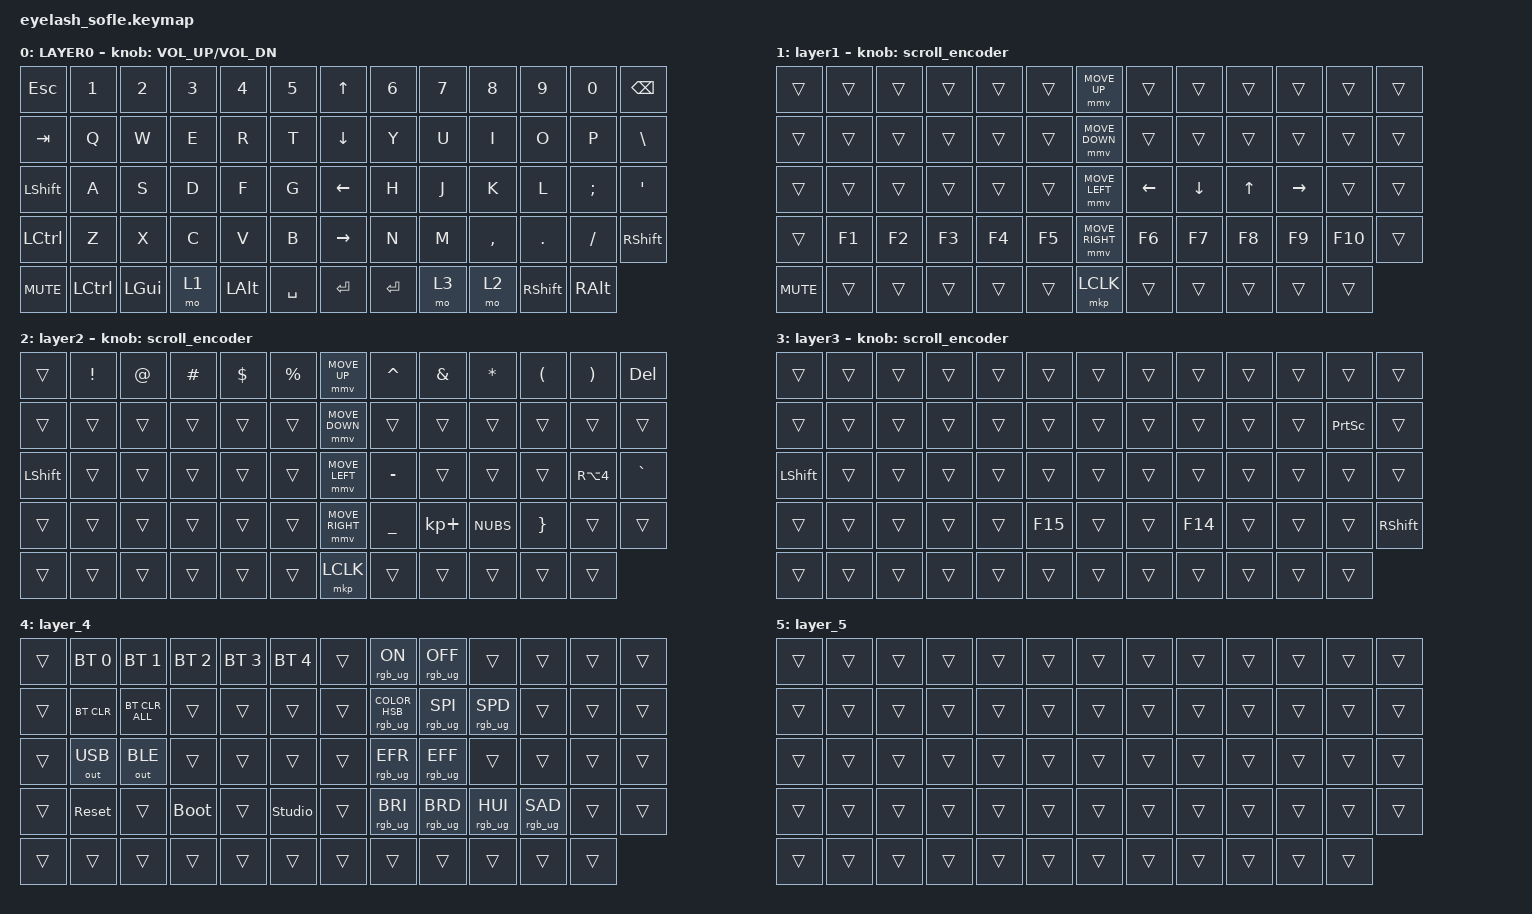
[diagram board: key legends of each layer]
#define ZMK_POINTING_DEFAULT_MOVE_VAL 1200  // 600
#define ZMK_POINTING_DEFAULT_SCRL_VAL 25   // 10

#include <input/processors.dtsi>
#include <zephyr/dt-bindings/input/input-event-codes.h>
#include <behaviors.dtsi>
#include <dt-bindings/zmk/bt.h>
#include <dt-bindings/zmk/keys.h>
#include <dt-bindings/zmk/outputs.h>
#include <dt-bindings/zmk/pointing.h>
#include <dt-bindings/zmk/rgb.h>

&mmv_input_listener { input-processors = <&zip_xy_scaler 2 1>; };

&msc_input_listener { input-processors = <&zip_scroll_scaler 2 1>; };

&msc {
    acceleration-exponent = <1>;      // 0
    time-to-max-speed-ms = <100>;       // 300
    delay-ms = <0>;                   // 0
};

&mmv {
    time-to-max-speed-ms = <500>;
    acceleration-exponent = <1>;
    trigger-period-ms = <16>;
};

&soft_off { hold-time-ms = <2000>; };

/ {
    scroll_encoder: scroll_encoder {
        compatible = "zmk,behavior-sensor-rotate";
        #sensor-binding-cells = <0>;
        bindings = <&msc SCRL_DOWN>, <&msc SCRL_UP>;

        tap-ms = <100>;
    };

    behaviors {
    };

    combos {
        compatible = "zmk,combos";

        softoff {
            bindings = <&soft_off>;
            key-positions = <14 28 40>;
        };

        sym1l {
            bindings = <&kp LS(N8)>;
            key-positions = <18 17 20>;
        };

        sym2l {
            bindings = <&kp SINGLE_QUOTE>;
            key-positions = <30 31 33>;
        };

        sym3l {
            bindings = <&kp LS(SINGLE_QUOTE)>;
            key-positions = <43 44 46>;
        };

        sym1r {
            bindings = <&kp LS(NUMBER_9)>;
            key-positions = <20 21 18>;
        };

        sym2r {
            bindings = <&kp BACKSLASH>;
            key-positions = <33 34 31>;
        };

        sym3r {
            bindings = <&kp PIPE>;
            key-positions = <46 47 44>;
        };

        contrabarra {
            bindings = <&kp RA(MINUS)>;
            key-positions = <63 11>;
        };
    };

    keymap {
        compatible = "zmk,keymap";

        layer0 {
            bindings = <
&kp ESC         &kp N1     &kp N2        &kp N3  &kp N4        &kp N5       &kp UP_ARROW     &kp N6     &kp N7  &kp N8     &kp N9           &kp N0    &kp BACKSPACE
&kp TAB         &kp Q      &kp W         &kp E   &kp R         &kp T        &kp DOWN_ARROW   &kp Y      &kp U   &kp I      &kp O            &kp P     &kp BSLH
&kp LEFT_SHIFT  &kp A      &kp S         &kp D   &kp F         &kp G        &kp LEFT_ARROW   &kp H      &kp J   &kp K      &kp L            &kp SEMI  &kp APOS
&kp LCTRL       &kp Z      &kp X         &kp C   &kp V         &kp B        &kp RIGHT_ARROW  &kp N      &kp M   &kp COMMA  &kp DOT          &kp FSLH  &kp RIGHT_SHIFT
&kp C_MUTE      &kp LCTRL  &kp LEFT_GUI  &mo 1   &kp LEFT_ALT  &kp SPACE    &kp ENTER        &kp ENTER  &mo 3   &mo 2      &kp RIGHT_SHIFT  &kp RALT
            >;

            sensor-bindings = <&inc_dec_kp C_VOLUME_UP C_VOL_DN>;
            display-name = "LAYER0";
        };

        layer_1 {
            bindings = <
&trans      &trans  &trans  &trans  &trans  &trans    &mmv MOVE_UP     &trans          &trans          &trans        &trans           &trans   &trans
&trans      &trans  &trans  &trans  &trans  &trans    &mmv MOVE_DOWN   &trans          &trans          &trans        &trans           &trans   &trans
&trans      &trans  &trans  &trans  &trans  &trans    &mmv MOVE_LEFT   &kp LEFT_ARROW  &kp DOWN_ARROW  &kp UP_ARROW  &kp RIGHT_ARROW  &trans   &trans
&trans      &kp F1  &kp F2  &kp F3  &kp F4  &kp F5    &mmv MOVE_RIGHT  &kp F6          &kp F7          &kp F8        &kp F9           &kp F10  &trans
&kp C_MUTE  &trans  &trans  &trans  &trans  &trans    &mkp LCLK        &trans          &trans          &trans        &trans           &trans
            >;

            display-name = "layer1";
            sensor-bindings = <&scroll_encoder>;
        };

        layer_2 {
            bindings = <
&trans          &kp EXCL  &kp AT  &kp HASH  &kp DLLR  &kp PERCENT    &mmv MOVE_UP     &kp CARET       &kp AMPS     &kp ASTRK  &kp LEFT_PARENTHESIS  &kp RIGHT_PARENTHESIS  &kp DELETE
&trans          &trans    &trans  &trans    &trans    &trans         &mmv MOVE_DOWN   &trans          &trans       &trans     &trans                &trans                 &trans
&kp LEFT_SHIFT  &trans    &trans  &trans    &trans    &trans         &mmv MOVE_LEFT   &kp MINUS       &trans       &trans     &trans                &kp RA(NUMBER_4)       &kp GRAVE
&trans          &trans    &trans  &trans    &trans    &trans         &mmv MOVE_RIGHT  &kp UNDERSCORE  &kp KP_PLUS  &kp NUBS   &kp RBRC              &trans                 &trans
&trans          &trans    &trans  &trans    &trans    &trans         &mkp LCLK        &trans          &trans       &trans     &trans                &trans
            >;

            display-name = "layer2";
            sensor-bindings = <&scroll_encoder>;
        };

        layer_3 {
            bindings = <
&trans     &trans  &trans  &trans  &trans  &trans     &trans  &trans  &trans   &trans  &trans  &trans           &trans
&trans     &trans  &trans  &trans  &trans  &trans     &trans  &trans  &trans   &trans  &trans  &kp PRINTSCREEN  &trans
&kp LSHFT  &trans  &trans  &trans  &trans  &trans     &trans  &trans  &trans   &trans  &trans  &trans           &trans
&trans     &trans  &trans  &trans  &trans  &kp F15    &trans  &trans  &kp F14  &trans  &trans  &trans           &kp RSHFT
&trans     &trans  &trans  &trans  &trans  &trans     &trans  &trans  &trans   &trans  &trans  &trans
            >;

            display-name = "layer3";
            sensor-bindings = <&scroll_encoder>;
        };

        layer_4 {
            bindings = <
&trans  &bt BT_SEL 0  &bt BT_SEL 1    &bt BT_SEL 2  &bt BT_SEL 3  &bt BT_SEL 4      &trans  &rgb_ug RGB_ON                    &rgb_ug RGB_OFF  &trans           &trans           &trans  &trans
&trans  &bt BT_CLR    &bt BT_CLR_ALL  &trans        &trans        &trans            &trans  &rgb_ug RGB_COLOR_HSB(124,96,28)  &rgb_ug RGB_SPI  &rgb_ug RGB_SPD  &trans           &trans  &trans
&trans  &out OUT_USB  &out OUT_BLE    &trans        &trans        &trans            &trans  &rgb_ug RGB_EFR                   &rgb_ug RGB_EFF  &trans           &trans           &trans  &trans
&trans  &sys_reset    &trans          &bootloader   &trans        &studio_unlock    &trans  &rgb_ug RGB_BRI                   &rgb_ug RGB_BRD  &rgb_ug RGB_HUI  &rgb_ug RGB_SAD  &trans  &trans
&trans  &trans        &trans          &trans        &trans        &trans            &trans  &trans                            &trans           &trans           &trans           &trans
            >;
        };

        layer_5 {
            bindings = <
&trans  &trans  &trans  &trans  &trans  &trans    &trans  &trans  &trans  &trans  &trans  &trans  &trans
&trans  &trans  &trans  &trans  &trans  &trans    &trans  &trans  &trans  &trans  &trans  &trans  &trans
&trans  &trans  &trans  &trans  &trans  &trans    &trans  &trans  &trans  &trans  &trans  &trans  &trans
&trans  &trans  &trans  &trans  &trans  &trans    &trans  &trans  &trans  &trans  &trans  &trans  &trans
&trans  &trans  &trans  &trans  &trans  &trans    &trans  &trans  &trans  &trans  &trans  &trans
            >;
        };
    };

    conditional_layers {
        compatible = "zmk,conditional-layers";

        togo4 {
            if-layers = <1 2>;
            then-layer = <4>;
        };
    };
};
